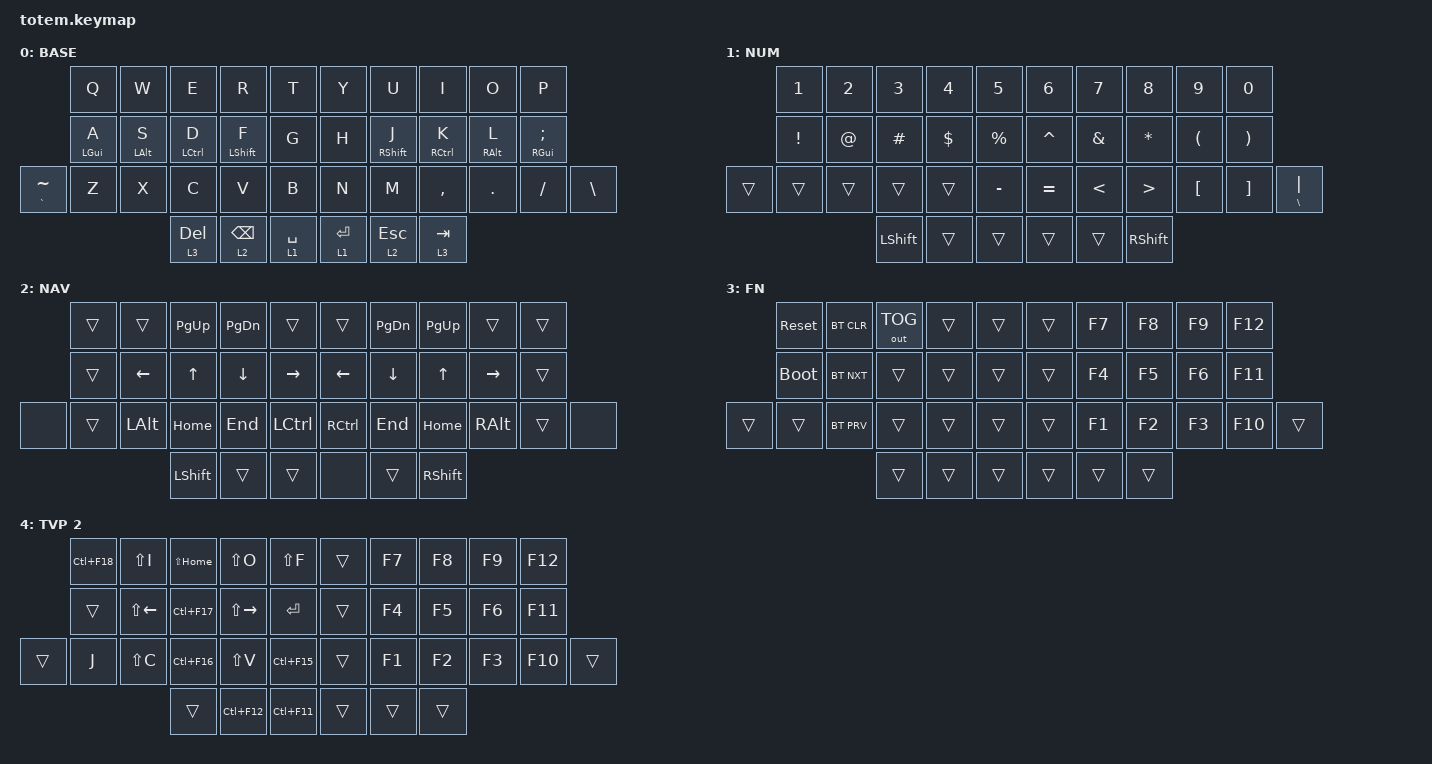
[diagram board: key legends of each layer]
//
//                                                        ▀▀▀▀▀     ▀▀▀▀▀          ▀▀█▀▀
//                                                        ▄▀▀▀▄  ▄  ▄▀▀▀▄  ▄  ▄▀▀▀▄  █  ▄▀▀▀▄
//                                                        █   █  █  █   █  █  █   █  █  █   █
//                                                         ▀▀▀   █   ▀▀▀   █   ▀▀▀   ▀   ▀▀▀
//                                                               █      ▄▄▄█▄▄▄    █   █  
//                                                               ▀      █  █  █     █▄█
//                                                             ▀▀▀▀▀    █  █  █      ▀
//                                                                      ▀  ▀  ▀
//
// ▄▄▄▄▄▄▄▄▄▄▄▄▄▄▄▄▄▄▄▄▄▄▄▄▄▄▄▄▄▄▄▄▄▄▄▄▄▄▄▄▄▄▄▄▄▄▄▄▄▄▄▄▄▄▄▄▄▄▄▄▄▄▄▄▄▄▄▄▄▄▄▄▄▄▄▄▄▄▄▄▄▄▄▄▄▄▄▄▄▄▄▄▄▄▄▄▄▄▄▄▄▄▄▄▄▄▄▄▄▄▄▄▄▄▄▄▄▄▄▄▄▄▄▄▄▄▄▄▄▄▄▄▄▄▄▄▄▄▄▄▄▄▄▄▄▄▄▄▄

#include <behaviors.dtsi>
#include <dt-bindings/zmk/bt.h>
#include <dt-bindings/zmk/keys.h>
#include <dt-bindings/zmk/outputs.h>

#define BASE 0
#define NAV  1
#define SYM  2
#define ADJ  3
#define TVP1 4
#define TVP2 5

&mt {
    quick-tap-ms = <100>;
    global-quick-tap;
    flavor = "tap-preferred";
    tapping-term-ms = <170>;
};

/ {
    combos { compatible = "zmk,combos"; };

    keymap {
        compatible = "zmk,keymap";

        // ▄▄▄▄▄▄▄▄▄▄▄▄▄▄▄▄▄▄▄▄▄▄▄▄▄▄▄▄▄▄▄▄▄▄▄▄▄▄▄▄▄▄▄▄▄▄▄▄▄▄▄▄▄▄▄▄▄▄▄▄▄▄▄▄▄▄▄▄▄▄▄▄▄▄▄▄▄▄▄▄▄▄▄▄▄▄▄▄▄▄▄▄▄▄▄▄▄▄▄▄▄▄▄▄▄▄▄▄▄▄▄▄▄▄▄▄▄▄▄▄▄▄▄▄▄▄▄▄▄▄▄▄▄▄▄▄▄▄▄▄▄▄▄▄▄▄▄▄▄

        base_layer {
            // ┏━━━━━━━━━━━━━━━━━━━━━━━━━━━━━━━━━━━━━━━┓

            label = "BASE";

            // ┗━━━━━━━━━━━━━━━━━━━━━━━━━━━━━━━━━━━━━━━┛
            //             ┏━━━━━━━━━━━┳━━━━━━━━━━━┳━━━━━━━━━━━┳━━━━━━━━━━━┳━━━━━━━━━━━┓   ┏━━━━━━━━━━━┳━━━━━━━━━━━┳━━━━━━━━━━━┳━━━━━━━━━━━┳━━━━━━━━━━━┓
            //             ┃     Q     ┃     W     ┃     F     ┃     P     ┃     G     ┃   ┃     J     ┃     L     ┃     U     ┃     Y     ┃     ;     ┃
            //             ┣━━━━━━━━━━━╋━━━━━━━━━━━╋━━━━━━━━━━━╋━━━━━━━━━━━╋━━━━━━━━━━━┫   ┣━━━━━━━━━━━╋━━━━━━━━━━━╋━━━━━━━━━━━╋━━━━━━━━━━━╋━━━━━━━━━━━┫
            //             ┃     A     ┃     R     ┃     S     ┃     T     ┃     D     ┃   ┃     H     ┃     N     ┃     E     ┃     I     ┃     O     ┃
            // ┏━━━━━━━━━━━╋━━━━━━━━━━━╋━━━━━━━━━━━╋━━━━━━━━━━━╋━━━━━━━━━━━╋━━━━━━━━━━━┫   ┣━━━━━━━━━━━╋━━━━━━━━━━━╋━━━━━━━━━━━╋━━━━━━━━━━━╋━━━━━━━━━━━╋━━━━━━━━━━━┓
            // ┃     Q     ┃     Z     ┃     X     ┃     C     ┃     V     ┃     B     ┃   ┃     K     ┃     M     ┃     ,     ┃     .     ┃     /     ┃     \     ┃
            // ┗━━━━━━━━━━━┻━━━━━━━━━━━┻━━━━━━━━━━━╋━━━━━━━━━━━╋━━━━━━━━━━━╋━━━━━━━━━━━┫   ┣━━━━━━━━━━━╋━━━━━━━━━━━╋━━━━━━━━━━━╋━━━━━━━━━━━┻━━━━━━━━━━━┻━━━━━━━━━━━┛
            //                                     ┃    DEL    ┃    TAB    ┃    SPC    ┃   ┃   ENTER   ┃           ┃   BSPC    ┃
            //                                     ┗━━━━━━━━━━━┻━━━━━━━━━━━┻━━━━━━━━━━━┛   ┗━━━━━━━━━━━┻━━━━━━━━━━━┻━━━━━━━━━━━┛

            bindings = <
                 &kp Q       &kp W       &kp E        &kp R            &kp T          &kp Y        &kp U         &kp I        &kp O       &kp P
                 &mt LGUI A  &mt LALT S  &mt LCTRL D  &mt LSHFT F      &kp G          &kp H        &mt RSHFT J   &mt RCTRL K  &mt RALT L  &mt RGUI SEMICOLON
&mt GRAVE TILDE  &kp Z       &kp X       &kp C        &kp V            &kp B          &kp N        &kp M         &kp COMMA    &kp DOT     &kp FSLH            &kp BSLH
                                         &lt 3 DEL    &lt 2 BACKSPACE  &lt 1 SPACE    &lt 1 ENTER  &lt 2 ESCAPE  &lt 3 TAB
            >;
        };

        // ▄▄▄▄▄▄▄▄▄▄▄▄▄▄▄▄▄▄▄▄▄▄▄▄▄▄▄▄▄▄▄▄▄▄▄▄▄▄▄▄▄▄▄▄▄▄▄▄▄▄▄▄▄▄▄▄▄▄▄▄▄▄▄▄▄▄▄▄▄▄▄▄▄▄▄▄▄▄▄▄▄▄▄▄▄▄▄▄▄▄▄▄▄▄▄▄▄▄▄▄▄▄▄▄▄▄▄▄▄▄▄▄▄▄▄▄▄▄▄▄▄▄▄▄▄▄▄▄▄▄▄▄▄▄▄▄▄▄▄▄▄▄▄▄▄▄▄▄▄

        num_layer {
            // ┏━━━━━━━━━━━━━━━━━━━━━━━━━━━━━━━━━━━━━━━┓

            label = "NUM";

            // ┗━━━━━━━━━━━━━━━━━━━━━━━━━━━━━━━━━━━━━━━┛
            //             ┏━━━━━━━━━━━┳━━━━━━━━━━━┳━━━━━━━━━━━┳━━━━━━━━━━━┳━━━━━━━━━━━┓   ┏━━━━━━━━━━━┳━━━━━━━━━━━┳━━━━━━━━━━━┳━━━━━━━━━━━┳━━━━━━━━━━━┓
            //             ┃           ┃           ┃     UP    ┃           ┃     {     ┃   ┃     }     ┃     7     ┃     8     ┃     9     ┃     +     ┃
            //             ┣━━━━━━━━━━━╋━━━━━━━━━━━╋━━━━━━━━━━━╋━━━━━━━━━━━╋━━━━━━━━━━━┫   ┣━━━━━━━━━━━╋━━━━━━━━━━━╋━━━━━━━━━━━╋━━━━━━━━━━━╋━━━━━━━━━━━┫
            //             ┃   SHIFT   ┃   LEFT    ┃    DOWN   ┃   RIGHT   ┃     [     ┃   ┃     ]     ┃     4     ┃     5     ┃     6     ┃     -     ┃
            // ┏━━━━━━━━━━━╋━━━━━━━━━━━╋━━━━━━━━━━━╋━━━━━━━━━━━╋━━━━━━━━━━━╋━━━━━━━━━━━┫   ┣━━━━━━━━━━━╋━━━━━━━━━━━╋━━━━━━━━━━━╋━━━━━━━━━━━╋━━━━━━━━━━━╋━━━━━━━━━━━┓
            // ┃           ┃           ┃   P UP    ┃  C LOCK   ┃  P DOWN   ┃     (     ┃   ┃     )     ┃     1     ┃     2     ┃     3     ┃     *     ┃           ┃
            // ┗━━━━━━━━━━━┻━━━━━━━━━━━┻━━━━━━━━━━━╋━━━━━━━━━━━╋━━━━━━━━━━━╋━━━━━━━━━━━┫   ┣━━━━━━━━━━━╋━━━━━━━━━━━╋━━━━━━━━━━━╋━━━━━━━━━━━┻━━━━━━━━━━━┻━━━━━━━━━━━┛
            //                                     ┃           ┃    TAB    ┃    SPC    ┃   ┃    DEL    ┃     0     ┃           ┃
            //                                     ┗━━━━━━━━━━━┻━━━━━━━━━━━┻━━━━━━━━━━━┛   ┗━━━━━━━━━━━┻━━━━━━━━━━━┻━━━━━━━━━━━┛

            bindings = <
        &kp NUMBER_1     &kp NUMBER_2  &kp NUMBER_3    &kp NUMBER_4  &kp NUMBER_5    &kp NUMBER_6  &kp NUMBER_7   &kp NUMBER_8      &kp N9                &kp NUMBER_0
        &kp EXCLAMATION  &kp AT_SIGN   &kp HASH        &kp DOLLAR    &kp PERCENT     &kp CARET     &kp AMPERSAND  &kp ASTERISK      &kp LEFT_PARENTHESIS  &kp RIGHT_PARENTHESIS
&trans  &trans           &trans        &trans          &trans        &kp MINUS       &kp EQUAL     &kp LESS_THAN  &kp GREATER_THAN  &kp LEFT_BRACKET      &kp RIGHT_BRACKET      &mt BACKSLASH PIPE
                                       &kp LEFT_SHIFT  &trans        &trans          &trans        &trans         &kp RSHIFT
            >;
        };

        // ▄▄▄▄▄▄▄▄▄▄▄▄▄▄▄▄▄▄▄▄▄▄▄▄▄▄▄▄▄▄▄▄▄▄▄▄▄▄▄▄▄▄▄▄▄▄▄▄▄▄▄▄▄▄▄▄▄▄▄▄▄▄▄▄▄▄▄▄▄▄▄▄▄▄▄▄▄▄▄▄▄▄▄▄▄▄▄▄▄▄▄▄▄▄▄▄▄▄▄▄▄▄▄▄▄▄▄▄▄▄▄▄▄▄▄▄▄▄▄▄▄▄▄▄▄▄▄▄▄▄▄▄▄▄▄▄▄▄▄▄▄▄▄▄▄▄▄▄▄

        nav_layer {
            // ┏━━━━━━━━━━━━━━━━━━━━━━━━━━━━━━━━━━━━━━━┓

            label = "NAV";

            // ┗━━━━━━━━━━━━━━━━━━━━━━━━━━━━━━━━━━━━━━━┛
            //             ┏━━━━━━━━━━━┳━━━━━━━━━━━┳━━━━━━━━━━━┳━━━━━━━━━━━┳━━━━━━━━━━━┓   ┏━━━━━━━━━━━┳━━━━━━━━━━━┳━━━━━━━━━━━┳━━━━━━━━━━━┳━━━━━━━━━━━┓
            //             ┃     !     ┃     @     ┃     #     ┃     $     ┃     %     ┃   ┃     ˆ     ┃     &     ┃     Ü     ┃     '     ┃     "     ┃
            //             ┣━━━━━━━━━━━╋━━━━━━━━━━━╋━━━━━━━━━━━╋━━━━━━━━━━━╋━━━━━━━━━━━┫   ┣━━━━━━━━━━━╋━━━━━━━━━━━╋━━━━━━━━━━━╋━━━━━━━━━━━╋━━━━━━━━━━━┫
            //             ┃     Ä     ┃           ┃    SZ     ┃           ┃           ┃   ┃   MUTE    ┃   YEN     ┃   EURO    ┃  POUND    ┃     Ö     ┃
            // ┏━━━━━━━━━━━╋━━━━━━━━━━━╋━━━━━━━━━━━╋━━━━━━━━━━━╋━━━━━━━━━━━╋━━━━━━━━━━━┫   ┣━━━━━━━━━━━╋━━━━━━━━━━━╋━━━━━━━━━━━╋━━━━━━━━━━━╋━━━━━━━━━━━╋━━━━━━━━━━━┓
            // ┃           ┃  EMAIL1   ┃  EMAIL2   ┃           ┃           ┃           ┃   ┃   VOL-    ┃   VOL+    ┃   LAST    ┃   NEXT    ┃     \     ┃           ┃
            // ┗━━━━━━━━━━━┻━━━━━━━━━━━┻━━━━━━━━━━━╋━━━━━━━━━━━╋━━━━━━━━━━━╋━━━━━━━━━━━┫   ┣━━━━━━━━━━━╋━━━━━━━━━━━╋━━━━━━━━━━━╋━━━━━━━━━━━┻━━━━━━━━━━━┻━━━━━━━━━━━┛
            //                                     ┃           ┃    GIF    ┃    ADJ    ┃   ┃           ┃           ┃           ┃
            //                                     ┗━━━━━━━━━━━┻━━━━━━━━━━━┻━━━━━━━━━━━┛   ┗━━━━━━━━━━━┻━━━━━━━━━━━┻━━━━━━━━━━━┛

            bindings = <
       &trans  &trans          &kp PAGE_UP     &kp PAGE_DOWN   &trans             &trans          &kp PAGE_DOWN  &kp PAGE_UP      &trans           &trans
       &trans  &kp LEFT_ARROW  &kp UP_ARROW    &kp DOWN_ARROW  &kp RIGHT_ARROW    &kp LEFT_ARROW  &kp DOWN       &kp UP_ARROW     &kp RIGHT_ARROW  &trans
&none  &trans  &kp LALT        &kp HOME        &kp END         &kp LCTRL          &kp RCTRL       &kp END        &kp HOME         &kp RIGHT_ALT    &trans  &none
                               &kp LEFT_SHIFT  &trans          &trans             &none           &trans         &kp RIGHT_SHIFT
            >;
        };

        // ▄▄▄▄▄▄▄▄▄▄▄▄▄▄▄▄▄▄▄▄▄▄▄▄▄▄▄▄▄▄▄▄▄▄▄▄▄▄▄▄▄▄▄▄▄▄▄▄▄▄▄▄▄▄▄▄▄▄▄▄▄▄▄▄▄▄▄▄▄▄▄▄▄▄▄▄▄▄▄▄▄▄▄▄▄▄▄▄▄▄▄▄▄▄▄▄▄▄▄▄▄▄▄▄▄▄▄▄▄▄▄▄▄▄▄▄▄▄▄▄▄▄▄▄▄▄▄▄▄▄▄▄▄▄▄▄▄▄▄▄▄▄▄▄▄▄▄▄▄

        fn_layer {
            // ┏━━━━━━━━━━━━━━━━━━━━━━━━━━━━━━━━━━━━━━━┓

            label = "FN";

            // ┗━━━━━━━━━━━━━━━━━━━━━━━━━━━━━━━━━━━━━━━┛
            //             ┏━━━━━━━━━━━┳━━━━━━━━━━━┳━━━━━━━━━━━┳━━━━━━━━━━━┳━━━━━━━━━━━┓   ┏━━━━━━━━━━━┳━━━━━━━━━━━┳━━━━━━━━━━━┳━━━━━━━━━━━┳━━━━━━━━━━━┓
            //             ┃   RESET   ┃ BT CLEAR  ┃  OUT TOG  ┃           ┃           ┃   ┃           ┃    F7     ┃    F8     ┃    F9     ┃    F12    ┃
            //             ┣━━━━━━━━━━━╋━━━━━━━━━━━╋━━━━━━━━━━━╋━━━━━━━━━━━╋━━━━━━━━━━━┫   ┣━━━━━━━━━━━╋━━━━━━━━━━━╋━━━━━━━━━━━╋━━━━━━━━━━━╋━━━━━━━━━━━┫
            //             ┃ BOOTLOAD  ┃ BT NEXT   ┃           ┃           ┃           ┃   ┃           ┃    F4     ┃    F5     ┃    F6     ┃    F11    ┃
            // ┏━━━━━━━━━━━╋━━━━━━━━━━━╋━━━━━━━━━━━╋━━━━━━━━━━━╋━━━━━━━━━━━╋━━━━━━━━━━━┫   ┣━━━━━━━━━━━╋━━━━━━━━━━━╋━━━━━━━━━━━╋━━━━━━━━━━━╋━━━━━━━━━━━╋━━━━━━━━━━━┓
            // ┃           ┃           ┃ BT PREV   ┃           ┃           ┃           ┃   ┃           ┃    F1     ┃    F2     ┃    F3     ┃    F10    ┃           ┃
            // ┗━━━━━━━━━━━┻━━━━━━━━━━━┻━━━━━━━━━━━╋━━━━━━━━━━━╋━━━━━━━━━━━╋━━━━━━━━━━━┫   ┣━━━━━━━━━━━╋━━━━━━━━━━━╋━━━━━━━━━━━╋━━━━━━━━━━━┻━━━━━━━━━━━┻━━━━━━━━━━━┛
            //                                     ┃           ┃           ┃           ┃   ┃           ┃           ┃           ┃
            //                                     ┗━━━━━━━━━━━┻━━━━━━━━━━━┻━━━━━━━━━━━┛   ┗━━━━━━━━━━━┻━━━━━━━━━━━┻━━━━━━━━━━━┛

            bindings = <
        &sys_reset   &bt BT_CLR  &out OUT_TOG  &trans  &trans    &trans  &kp F7  &kp F8  &kp F9  &kp F12
        &bootloader  &bt BT_NXT  &trans        &trans  &trans    &trans  &kp F4  &kp F5  &kp F6  &kp F11
&trans  &trans       &bt BT_PRV  &trans        &trans  &trans    &trans  &kp F1  &kp F2  &kp F3  &kp F10  &trans
                                 &trans        &trans  &trans    &trans  &trans  &trans
            >;
        };

        // ▄▄▄▄▄▄▄▄▄▄▄▄▄▄▄▄▄▄▄▄▄▄▄▄▄▄▄▄▄▄▄▄▄▄▄▄▄▄▄▄▄▄▄▄▄▄▄▄▄▄▄▄▄▄▄▄▄▄▄▄▄▄▄▄▄▄▄▄▄▄▄▄▄▄▄▄▄▄▄▄▄▄▄▄▄▄▄▄▄▄▄▄▄▄▄▄▄▄▄▄▄▄▄▄▄▄▄▄▄▄▄▄▄▄▄▄▄▄▄▄▄▄▄▄▄▄▄▄▄▄▄▄▄▄▄▄▄▄▄▄▄▄▄▄▄▄▄▄▄
        // ▄▄▄▄▄▄▄▄▄▄▄▄▄▄▄▄▄▄▄▄▄▄▄▄▄▄▄▄▄▄▄▄▄▄▄▄▄▄▄▄▄▄▄▄▄▄▄▄▄▄▄▄▄▄▄▄▄▄▄▄▄▄▄▄▄▄▄▄▄▄▄▄▄▄▄▄▄▄▄▄▄▄▄▄▄▄▄▄▄▄▄▄▄▄▄▄▄▄▄▄▄▄▄▄▄▄▄▄▄▄▄▄▄▄▄▄▄▄▄▄▄▄▄▄▄▄▄▄▄▄▄▄▄▄▄▄▄▄▄▄▄▄▄▄▄▄▄▄▄

        tvp2_layer {
            // ┏━━━━━━━━━━━━━━━━━━━━━━━━━━━━━━━━━━━━━━━┓

            label = "TVP 2";

            // ┗━━━━━━━━━━━━━━━━━━━━━━━━━━━━━━━━━━━━━━━┛
            //             ┏━━━━━━━━━━━┳━━━━━━━━━━━┳━━━━━━━━━━━┳━━━━━━━━━━━┳━━━━━━━━━━━┓   ┏━━━━━━━━━━━┳━━━━━━━━━━━┳━━━━━━━━━━━┳━━━━━━━━━━━┳━━━━━━━━━━━┓
            //             ┃ SOLO      ┃ TOGGLE IN ┃ RESET ROT ┃ TOGGLE OUT┃ TAKE SNAP ┃   ┃           ┃           ┃           ┃           ┃           ┃
            //             ┣━━━━━━━━━━━╋━━━━━━━━━━━╋━━━━━━━━━━━╋━━━━━━━━━━━╋━━━━━━━━━━━┫   ┣━━━━━━━━━━━╋━━━━━━━━━━━╋━━━━━━━━━━━╋━━━━━━━━━━━╋━━━━━━━━━━━┫
            //             ┃ ---       ┃ LAST KEY  ┃ NEW KEY   ┃ NEXT KEY  ┃ ENTER     ┃   ┃           ┃           ┃           ┃           ┃           ┃
            // ┏━━━━━━━━━━━╋━━━━━━━━━━━╋━━━━━━━━━━━╋━━━━━━━━━━━╋━━━━━━━━━━━╋━━━━━━━━━━━┫   ┣━━━━━━━━━━━╋━━━━━━━━━━━╋━━━━━━━━━━━╋━━━━━━━━━━━╋━━━━━━━━━━━╋━━━━━━━━━━━┓
            // ┃           ┃ FULLSCR   ┃ CPY2BRUSH ┃ DEL HEAD  ┃ PSTinPLACE┃ BOOK MARK ┃   ┃           ┃           ┃           ┃           ┃           ┃           ┃
            // ┗━━━━━━━━━━━┻━━━━━━━━━━━┻━━━━━━━━━━━╋━━━━━━━━━━━╋━━━━━━━━━━━╋━━━━━━━━━━━┫   ┣━━━━━━━━━━━╋━━━━━━━━━━━╋━━━━━━━━━━━╋━━━━━━━━━━━┻━━━━━━━━━━━┻━━━━━━━━━━━┛
            //                                     ┃           ┃ REDO/SAV1 ┃TRANS/WARP ┃   ┃           ┃           ┃           ┃
            //                                     ┗━━━━━━━━━━━┻━━━━━━━━━━━┻━━━━━━━━━━━┛   ┗━━━━━━━━━━━┻━━━━━━━━━━━┻━━━━━━━━━━━┛

            bindings = <
        &kp LC(F18)  &kp LS(I)     &kp LS(HOME)  &kp LS(O)      &kp LS(F)      &trans  &kp F7  &kp F8  &kp F9  &kp F12
        &trans       &kp LS(LEFT)  &kp LC(F17)   &kp LS(RIGHT)  &kp RET        &trans  &kp F4  &kp F5  &kp F6  &kp F11
&trans  &kp J        &kp LS(C)     &kp LC(F16)   &kp LS(V)      &kp LC(F15)    &trans  &kp F1  &kp F2  &kp F3  &kp F10  &trans
                                   &trans        &kp LC(F12)    &kp LC(F11)    &trans  &trans  &trans
            >;
        };
    };
};
